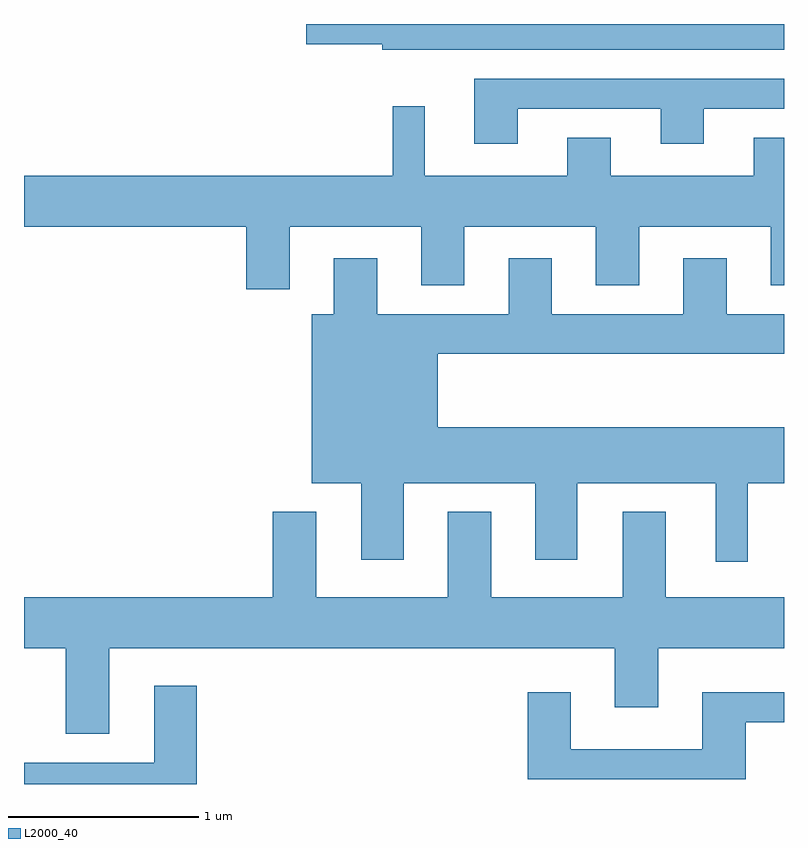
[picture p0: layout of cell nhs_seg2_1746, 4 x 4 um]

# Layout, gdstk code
import gdstk
lib = gdstk.Library(unit=1e-6, precision=1e-09)
def P(c, l, *ps):  # polygons
    for p in ps: c.add(gdstk.Polygon(p, *l))
L2000_40 = (2000, 40)

nhs_seg2_1746 = lib.new_cell('nhs_seg2_1746')
P(nhs_seg2_1746, L2000_40, [(239.611,1073.802),(237.096,1073.802),(237.096,1073.696),(237.496,1073.696),(237.496,1073.666),(239.611,1073.666)],
  [(238.209,1073.356),(238.961,1073.356),(238.961,1073.171),(239.189,1073.171),(239.189,1073.356),(239.611,1073.356),(239.611,1073.514),(237.981,1073.514),(237.981,1073.171),(238.209,1073.171)],
  [(237.009,1072.736),(237.701,1072.736),(237.701,1072.426),(237.929,1072.426),(237.929,1072.736),(238.621,1072.736),(238.621,1072.426),(238.849,1072.426),(238.849,1072.736),(239.541,1072.736),(239.541,1072.426),(239.611,1072.426),(239.611,1073.204),(239.451,1073.204),(239.451,1073.004),(238.699,1073.004),(238.699,1073.204),(238.471,1073.204),(238.471,1073.004),(237.719,1073.004),(237.719,1073.368),(237.551,1073.368),(237.551,1073.004),(235.611,1073.004),(235.611,1072.736),(236.781,1072.736),(236.781,1072.406),(237.009,1072.406)],
  [(239.419,1071.386),(239.611,1071.386),(239.611,1071.679),(237.789,1071.679),(237.789,1072.066),(239.611,1072.066),(239.611,1072.274),(239.309,1072.274),(239.309,1072.569),(239.081,1072.569),(239.081,1072.274),(238.389,1072.274),(238.389,1072.569),(238.161,1072.569),(238.161,1072.274),(237.469,1072.274),(237.469,1072.569),(237.241,1072.569),(237.241,1072.274),(237.126,1072.274),(237.126,1071.386),(237.386,1071.386),(237.386,1070.981),(237.609,1070.981),(237.609,1071.386),(238.301,1071.386),(238.301,1070.981),(238.524,1070.981),(238.524,1071.386),(239.251,1071.386),(239.251,1070.973),(239.419,1070.973)],
  [(236.059,1070.516),(238.721,1070.516),(238.721,1070.206),(238.949,1070.206),(238.949,1070.516),(239.611,1070.516),(239.611,1070.784),(238.989,1070.784),(238.989,1071.234),(238.761,1071.234),(238.761,1070.784),(238.069,1070.784),(238.069,1071.234),(237.841,1071.234),(237.841,1070.784),(237.149,1070.784),(237.149,1071.234),(236.921,1071.234),(236.921,1070.784),(235.611,1070.784),(235.611,1070.516),(235.831,1070.516),(235.831,1070.066),(236.059,1070.066)],
  [(236.519,1070.319),(236.296,1070.319),(236.296,1069.914),(235.611,1069.914),(235.611,1069.802),(236.519,1069.802)],
  [(239.409,1070.126),(239.611,1070.126),(239.611,1070.284),(239.181,1070.284),(239.181,1069.984),(238.489,1069.984),(238.489,1070.284),(238.261,1070.284),(238.261,1069.826),(239.409,1069.826)])

lib.write_gds('nhs_seg2_1746.gds')
